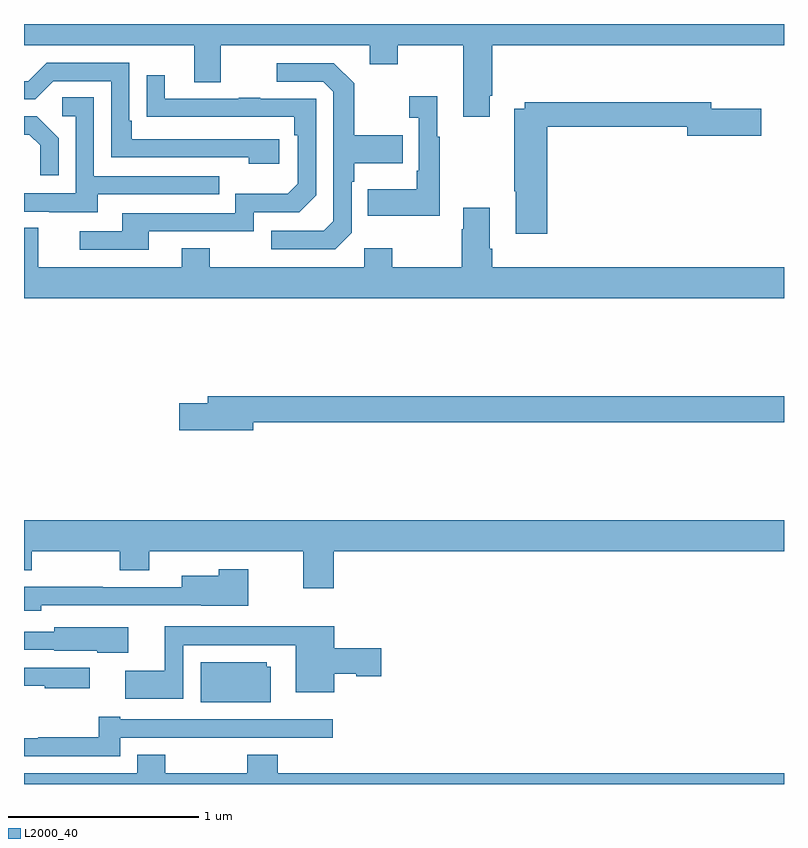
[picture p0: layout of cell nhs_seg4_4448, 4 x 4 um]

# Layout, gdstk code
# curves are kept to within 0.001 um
import gdstk
lib = gdstk.Library(unit=1e-6, precision=1e-09)
def P(c, l, *ps):  # polygons
    for p in ps: c.add(gdstk.Polygon(p, *l))
L2000_40 = (2000, 40)

nhs_seg4_4448 = lib.new_cell('nhs_seg4_4448')
P(nhs_seg4_4448, L2000_40, [(351.451,828.523),(351.464,828.523),(351.464,828.788),(353,828.788),(353,828.9),(349,828.9),(349,828.788),(349.895,828.788),(349.895,828.594),(350.035,828.594),(350.035,828.788),(350.819,828.788),(350.819,828.689),(350.967,828.689),(350.967,828.788),(351.311,828.788),(351.311,828.411),(351.451,828.411)],
  [(350.344,828.294),(349.567,828.294),(349.567,828.391),(349.554,828.391),(349.554,828.696),(349.119,828.696),(349.023,828.6),(349,828.6),(349,828.504),(349.059,828.504),(349.155,828.6),(349.458,828.6),(349.458,828.198),(350.183,828.198),(350.183,828.164),(350.344,828.164)],
  [(350.724,827.802),(350.724,828.071),(350.737,828.071),(350.737,828.167),(350.993,828.167),(350.993,828.315),(350.737,828.315),(350.737,828.587),(350.631,828.693),(350.331,828.693),(350.331,828.597),(350.574,828.597),(350.628,828.543),(350.628,827.862),(350.577,827.811),(350.301,827.811),(350.301,827.715),(350.637,827.715)],
  [(349.657,827.808),(350.208,827.808),(350.208,827.91),(350.448,827.91),(350.538,828),(350.538,828.507),(350.243,828.507),(350.243,828.512),(350.131,828.512),(350.131,828.507),(349.741,828.507),(349.741,828.631),(349.645,828.631),(349.645,828.412),(350.422,828.411),(350.422,828.314),(350.442,828.314),(350.442,828.06),(350.389,828.007),(350.112,828.007),(350.112,827.904),(349.517,827.904),(349.517,827.808),(349.293,827.808),(349.293,827.712),(349.657,827.712)],
  [(351.187,828.307),(351.175,828.307),(351.175,828.52),(351.027,828.52),(351.027,828.407),(351.078,828.407),(351.078,828.127),(351.066,828.127),(351.066,828.031),(350.809,828.031),(350.809,827.891),(351.187,827.891)],
  [(349.387,828.003),(350.027,828.003),(350.027,828.099),(349.368,828.099),(349.368,828.515),(349.2,828.515),(349.2,828.414),(349.272,828.414),(349.272,828.009),(349,828.009),(349,827.913),(349.133,827.913),(349.133,827.909),(349.387,827.909)],
  [(351.755,828.358),(352.49,828.358),(352.49,828.311),(352.879,828.311),(352.879,828.453),(352.618,828.453),(352.618,828.487),(351.636,828.487),(351.636,828.454),(351.58,828.454),(351.58,828.019),(351.587,828.019),(351.587,827.796),(351.755,827.796)],
  [(349.182,828.298),(349.066,828.414),(349,828.414),(349,828.318),(349.028,828.318),(349.085,828.261),(349.085,828.105),(349.182,828.105)],
  [(353,827.62),(351.464,827.62),(351.464,827.716),(351.451,827.716),(351.451,827.932),(351.311,827.932),(351.311,827.819),(351.304,827.819),(351.304,827.62),(350.937,827.62),(350.937,827.719),(350.79,827.719),(350.79,827.62),(349.977,827.62),(349.977,827.719),(349.829,827.719),(349.829,827.62),(349.075,827.62),(349.075,827.828),(349,827.828),(349,827.456),(353,827.456)],
  [(350.206,826.804),(353,826.804),(353,826.94),(349.967,826.94),(349.967,826.904),(349.818,826.904),(349.818,826.762),(350.206,826.762)],
  [(350.63,826.124),(353,826.124),(353,826.288),(349,826.288),(349,826.025),(349.041,826.025),(349.041,826.124),(349.504,826.124),(349.504,826.025),(349.659,826.025),(349.659,826.124),(350.47,826.124),(350.47,825.93),(350.63,825.93)],
  [(349.092,825.84),(349.933,825.84),(349.933,825.839),(350.181,825.839),(350.181,826.03),(350.026,826.03),(350.026,825.997),(349.829,825.997),(349.829,825.936),(349.415,825.936),(349.415,825.938),(349,825.938),(349,825.812),(349.092,825.812)],
  [(349.839,825.629),(350.429,825.629),(350.429,825.383),(350.632,825.383),(350.632,825.479),(350.748,825.479),(350.748,825.467),(350.881,825.467),(350.881,825.614),(350.632,825.614),(350.632,825.73),(349.742,825.73),(349.742,825.496),(349.533,825.496),(349.533,825.35),(349.839,825.35)],
  [(349.549,825.724),(349.158,825.724),(349.158,825.702),(349,825.702),(349,825.606),(349.158,825.606),(349.158,825.602),(349.386,825.602),(349.386,825.591),(349.549,825.591)],
  [(350.299,825.516),(350.277,825.516),(350.277,825.541),(349.931,825.541),(349.931,825.329),(350.299,825.329)],
  [(349.345,825.513),(349,825.513),(349,825.417),(349.109,825.417),(349.109,825.404),(349.345,825.404)],
  [(349.507,825.144),(349.831,825.144),(349.831,825.143),(350.087,825.143),(350.087,825.144),(350.626,825.144),(350.626,825.241),(350.377,825.241),(350.377,825.24),(349.507,825.24),(349.507,825.253),(349.393,825.253),(349.393,825.146),(349.075,825.146),(349.075,825.141),(349,825.141),(349,825.045),(349.507,825.045)],
  [(353,824.956),(350.336,824.956),(350.336,825.055),(350.176,825.055),(350.176,824.956),(349.743,824.956),(349.743,825.055),(349.595,825.055),(349.595,824.956),(349,824.956),(349,824.9),(353,824.9)])

lib.write_gds('nhs_seg4_4448.gds')
